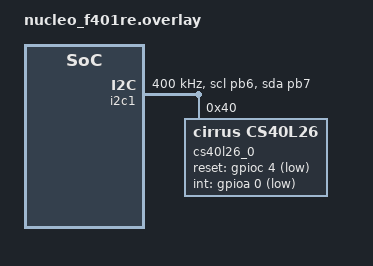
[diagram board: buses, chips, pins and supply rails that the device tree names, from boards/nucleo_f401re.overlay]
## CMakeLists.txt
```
# SPDX-License-Identifier: Apache-2.0

cmake_minimum_required(VERSION 3.28.0)

find_package(Zephyr REQUIRED HINTS $ENV{ZEPHYR_BASE})
project(cs40l26)

target_sources(app PRIVATE src/main.c)
```

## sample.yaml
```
sample:
  name: CS40L26 Haptic Driver Sample
tests:
  sample.haptics.cs40l26:
    build_only: true
    tags: haptics
    platform_allow:
      - nucleo_f401re
```

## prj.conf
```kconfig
CONFIG_HAPTICS=y
CONFIG_LOG=y

# Demonstrate PM runtime features
CONFIG_PM_DEVICE=y
CONFIG_PM_DEVICE_RUNTIME=y

# Enable custom shell sample for demonstration
CONFIG_SHELL=y
CONFIG_HAPTICS_SHELL=y

# All CS40L26 Kconfig options and their defaults
CONFIG_HAPTICS_CS40L26_CALIBRATION=y
CONFIG_HAPTICS_CS40L26_CLICK_COMPENSATION=y
CONFIG_HAPTICS_CS40L26_DYNAMIC_F0=y
CONFIG_HAPTICS_CS40L26_PM_ACTIVE_TIMEOUT_MS=0
CONFIG_HAPTICS_CS40L26_PM_STDBY_TIMEOUT_MS=100
```

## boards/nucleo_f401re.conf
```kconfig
# Copyright (c) 2026 Cirrus Logic, Inc.
# SPDX-License-Identifier: Apache-2.0

# Add debug logging for Nucleo sample only due to size considerations
CONFIG_HAPTICS_LOG_LEVEL_DBG=y
```

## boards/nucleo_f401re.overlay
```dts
/*
 * Copyright (c) 2026 Cirrus Logic, Inc.
 *
 * SPDX-License-Identifier: Apache-2.0
 */

#include <zephyr/dt-bindings/i2c/i2c.h>

/ {
	aliases {
		haptic0 = &cs40l26_0;
	};
};

&i2c1 {

	clock-frequency = <I2C_BITRATE_FAST>;

	pinctrl-0 = <&i2c1_scl_pb6 &i2c1_sda_pb7>;
	pinctrl-1 = <&analog_pb6 &analog_pb7>;
	pinctrl-names = "default", "sleep";
	scl-gpios = <&gpiob 6 GPIO_ACTIVE_HIGH>;
	sda-gpios = <&gpiob 7 GPIO_ACTIVE_HIGH>;
	status = "okay";

	cs40l26_0: cs40l26@40 {
		compatible = "cirrus,cs40l26";
		reg = <0x40>;

		reset-gpios = <&gpioc 4 (GPIO_ACTIVE_LOW | GPIO_PULL_UP)>;
		int-gpios = <&gpioa 0 (GPIO_ACTIVE_LOW | GPIO_PULL_UP)>;

		status = "okay";
	};
};

&usart1 {
	status = "disabled";
};
```

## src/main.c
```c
/*
 * Copyright (c) 2026 Cirrus Logic, Inc.
 *
 * SPDX-License-Identifier: Apache-2.0
 */

#include <errno.h>
#include <zephyr/device.h>
#include <zephyr/devicetree.h>
#include <zephyr/drivers/haptics.h>
#include <zephyr/drivers/haptics/cs40l26.h>
#include <zephyr/kernel.h>
#include <zephyr/pm/device_runtime.h>
#include <zephyr/shell/shell.h>

#if CONFIG_SHELL
#include <stdlib.h>
#endif /* CONFIG_SHELL */

const struct device *cs40l26 = DEVICE_DT_GET(DT_ALIAS(haptic0));

#define CS40L26_DEMO_FREQUENCY 165
#define CS40L26_DEMO_LEVEL     64
#define CS40L26_DEMO_DURATION  1000

#if CONFIG_SHELL
#define CS40L26_HELP                SHELL_HELP("CS40L26 haptics commands", NULL)
#define CS40L26_CONFIGURE_BUZZ_HELP SHELL_HELP("Configure buzz output", "<freq> <level> <dur>")

static int cmd_configure_buzz(const struct shell *sh, size_t argc, char **argv)
{
	uint32_t duration, frequency, level;

	frequency = strtoul(argv[1], NULL, 10);
	level = strtoul(argv[2], NULL, 10);
	duration = strtoul(argv[3], NULL, 10);

	if (level > UINT8_MAX) {
		shell_error(sh, "Level must be between 0 and 255");
		return -EINVAL;
	}

	return cs40l26_configure_buzz(cs40l26, frequency, (uint8_t)level, duration);
}

/* clang-format off */
SHELL_STATIC_SUBCMD_SET_CREATE(cs40l26_cmds,
	SHELL_CMD_ARG(configure_buzz, NULL, CS40L26_CONFIGURE_BUZZ_HELP, cmd_configure_buzz, 4, 0),
	SHELL_SUBCMD_SET_END);
/* clang-format on */

SHELL_CMD_REGISTER(cs40l26, &cs40l26_cmds, "CS40L26 shell commands", NULL);
#endif /* CONFIG_SHELL */

static void cs40l26_dummy_callback(const struct device *const dev, const uint32_t errors,
				   void *const user_data)
{
	printk("fatal errors detected (0x%08X)", errors);
}

int main(void)
{
	const union haptics_config cfg = {.idx = 0};
	int ret;

	if (!cs40l26 || !device_is_ready(cs40l26)) {
		return -ENODEV;
	}

	if (IS_ENABLED(CONFIG_PM_DEVICE_RUNTIME)) {
		ret = pm_device_runtime_enable(cs40l26);
		if (ret < 0) {
			return ret;
		}
	}

	(void)haptics_register_error_callback(cs40l26, cs40l26_dummy_callback, NULL);

	/* Basic demonstration if not using the custom shell interface. */
	if (!IS_ENABLED(CONFIG_SHELL)) {
		ret = haptics_calibrate(cs40l26, 0);
		if (ret < 0) {
			return ret;
		}

		(void)k_msleep(100);

		ret = cs40l26_configure_buzz(cs40l26, CS40L26_DEMO_FREQUENCY, CS40L26_DEMO_LEVEL,
					     CS40L26_DEMO_DURATION);
		if (ret < 0) {
			return ret;
		}

		ret = haptics_select_source(cs40l26, (enum haptics_source)CS40L26_SOURCE_BUZ, &cfg);
		if (ret < 0) {
			return ret;
		}

		ret = haptics_start_output(cs40l26);
		if (ret < 0) {
			return ret;
		}

		(void)k_msleep(100);

		ret = haptics_stop_output(cs40l26);
		if (ret < 0) {
			return ret;
		}
	}

	return 0;
}
```
